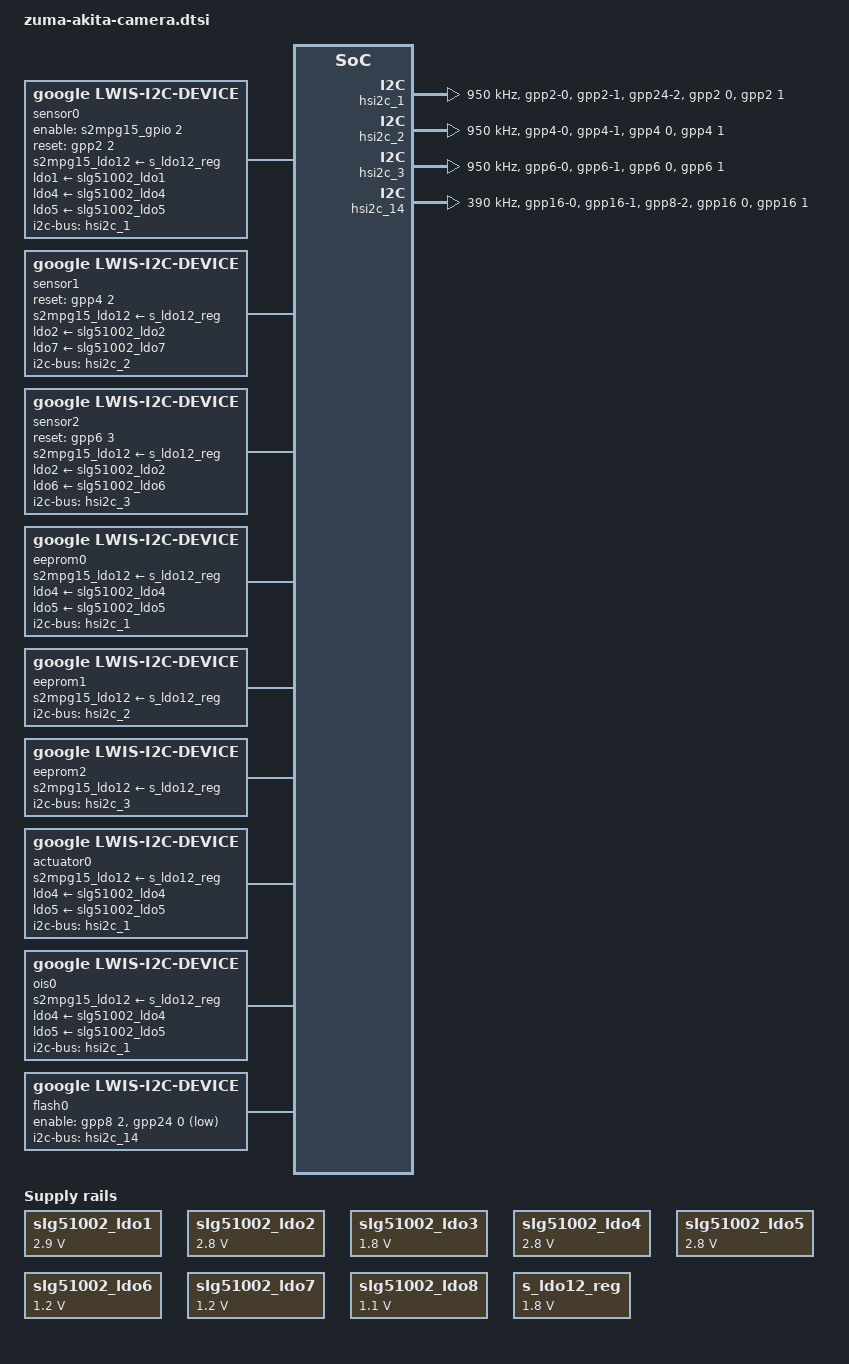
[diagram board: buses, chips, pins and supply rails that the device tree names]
// SPDX-License-Identifier: GPL-2.0-only
/*
 * zuma camera lwis device tree for akita
 *
 * Copyright 2022 Google LLC.
 *
 */

#include <dt-bindings/clock/zuma.h>
#include <dt-bindings/gpio/gpio.h>
#include <arm64/exynos/exynos-pinctrl.h>

&slg51002_ldo1 {
	regulator-min-microvolt = <2900000>;
	regulator-max-microvolt = <2900000>;
};

&slg51002_ldo2 {
	regulator-min-microvolt = <2800000>;
	regulator-max-microvolt = <2800000>;
};

&slg51002_ldo3 {
	regulator-min-microvolt = <1800000>;
	regulator-max-microvolt = <1800000>;
};

&slg51002_ldo4 {
	regulator-min-microvolt = <2800000>;
	regulator-max-microvolt = <2800000>;
};

&slg51002_ldo5 {
	regulator-min-microvolt = <2800000>;
	regulator-max-microvolt = <2800000>;
};

&slg51002_ldo6 {
	regulator-min-microvolt = <1200000>;
	regulator-max-microvolt = <1200000>;
};

&slg51002_ldo7 {
	regulator-min-microvolt = <1200000>;
	regulator-max-microvolt = <1200000>;
};

&slg51002_ldo8 {
	regulator-min-microvolt = <1100000>;
	regulator-max-microvolt = <1100000>;
};

&s_ldo12_reg {
	regulator-min-microvolt = <1800000>;
	regulator-max-microvolt = <1800000>;
};

&pinctrl_11 {
	hsi2c1_bus: hsi2c1-bus {
		samsung,pin-pud = <EXYNOS_PIN_PULL_UP>;
	};

	hsi2c1_bus_in: hsi2c1-bus-in {
		samsung,pins = "gpp2-0", "gpp2-1";
		samsung,pin-function = <EXYNOS_PIN_FUNC_INPUT>;
		samsung,pin-pud = <EXYNOS_PIN_PULL_NONE>;
		samsung,pin-drv = <ZUMA_PIN_DRV_X1>;
	};

	hsi2c2_bus: hsi2c2-bus {
		samsung,pin-pud = <EXYNOS_PIN_PULL_UP>;
	};

	hsi2c2_bus_in: hsi2c2-bus-in {
		samsung,pins = "gpp4-0", "gpp4-1";
		samsung,pin-function = <EXYNOS_PIN_FUNC_INPUT>;
		samsung,pin-pud = <EXYNOS_PIN_PULL_NONE>;
		samsung,pin-drv = <ZUMA_PIN_DRV_X1>;
	};

	hsi2c3_bus: hsi2c3-bus {
		samsung,pin-pud = <EXYNOS_PIN_PULL_UP>;
	};

	hsi2c3_bus_in: hsi2c3-bus-in {
		samsung,pins = "gpp6-0", "gpp6-1";
		samsung,pin-function = <EXYNOS_PIN_FUNC_INPUT>;
		samsung,pin-pud = <EXYNOS_PIN_PULL_NONE>;
		samsung,pin-drv = <ZUMA_PIN_DRV_X1>;
	};

	hsi2c4_bus: hsi2c4-bus {
		samsung,pin-pud = <EXYNOS_PIN_PULL_UP>;
	};

	hsi2c4_bus_in: hsi2c4-bus-in {
		samsung,pins = "gpp8-0", "gpp8-1";
		samsung,pin-function = <EXYNOS_PIN_FUNC_INPUT>;
		samsung,pin-pud = <EXYNOS_PIN_PULL_NONE>;
		samsung,pin-drv = <ZUMA_PIN_DRV_X1>;
	};

	hsi2c14_bus: hsi2c14-bus {
		samsung,pins = "gpp16-0", "gpp16-1";
		samsung,pin-function = <EXYNOS_PIN_FUNC_2>;
		samsung,pin-pud = <EXYNOS_PIN_PULL_NONE>;
		samsung,pin-drv = <ZUMA_PIN_DRV_X1>;
		samsung,pin-con-pdn = <EXYNOS_PIN_PDN_PREV>;
		samsung,pin-pud-pdn = <EXYNOS_PIN_PULL_NONE>;
	};

	/* GPP8[2] Flashlight Enable */
	flash_en: flash-en {
		samsung,pins = "gpp8-2";
		samsung,pin-function = <EXYNOS_PIN_FUNC_INPUT>;
		samsung,pin-pud = <EXYNOS_PIN_PULL_NONE>;
		samsung,pin-con-pdn = <EXYNOS_PIN_PDN_PREV>;
		samsung,pin-pud-pdn = <EXYNOS_PIN_PULL_NONE>;
	};

	sensor_mclk1_out: sensor-mclk1-out {
		samsung,pin-drv = <ZUMA_PIN_DRV_X2>;
	};
	sensor_mclk1_fn: sensor-mclk1-fn {
		samsung,pin-drv = <ZUMA_PIN_DRV_X2>;
	};
	sensor_mclk2_out: sensor-mclk2-out {
		samsung,pin-drv = <ZUMA_PIN_DRV_X2>;
	};
	sensor_mclk2_fn: sensor-mclk2-fn {
		samsung,pin-drv = <ZUMA_PIN_DRV_X2>;
	};
	sensor_mclk4_out: sensor-mclk4-out {
		samsung,pin-drv = <ZUMA_PIN_DRV_X2>;
	};
	sensor_mclk4_fn: sensor-mclk4-fn {
		samsung,pin-drv = <ZUMA_PIN_DRV_X2>;
	};
};

&pinctrl_12 {
	apc_pwm_pins: apc_pwm_pins {
		samsung,pins = "gpp24-2";
		samsung,pin-function = <EXYNOS_PIN_FUNC_INPUT>;
		samsung,pin-pud = <EXYNOS_PIN_PULL_DOWN>;
	};
};

&hsi2c_1 {
	#address-cells = <1>;
	#size-cells = <0>;
	gpios = <&gpp2 0 GPIO_ACTIVE_HIGH &gpp2 1 GPIO_ACTIVE_HIGH>;
	status = "okay";
	clock-frequency = <950000>;
	samsung,reset-before-trans;

	pinctrl-names = "default","on_i2c","off_i2c";
	pinctrl-0 = <&hsi2c1_bus_in &apc_pwm_pins>; /* add for apc_pwm_pins */
	pinctrl-1 = <&hsi2c1_bus>;
	pinctrl-2 = <&hsi2c1_bus_in>;
};

&hsi2c_2 {
	#address-cells = <1>;
	#size-cells = <0>;
	gpios = <&gpp4 0 GPIO_ACTIVE_HIGH &gpp4 1 GPIO_ACTIVE_HIGH>;
	status = "okay";
	clock-frequency = <950000>;
	samsung,reset-before-trans;

	pinctrl-names = "default","on_i2c","off_i2c";
	pinctrl-0 = <&hsi2c2_bus_in>;
	pinctrl-1 = <&hsi2c2_bus>;
	pinctrl-2 = <&hsi2c2_bus_in>;
};

&hsi2c_3 {
	#address-cells = <1>;
	#size-cells = <0>;
	gpios = <&gpp6 0 GPIO_ACTIVE_HIGH &gpp6 1 GPIO_ACTIVE_HIGH>;
	status = "okay";
	clock-frequency = <950000>;
	samsung,reset-before-trans;

	pinctrl-names = "default","on_i2c","off_i2c";
	pinctrl-0 = <&hsi2c3_bus_in>;
	pinctrl-1 = <&hsi2c3_bus>;
	pinctrl-2 = <&hsi2c3_bus_in>;
};

&hsi2c_14 {
	#address-cells = <1>;
	#size-cells = <0>;
	gpios = <&gpp16 0 GPIO_ACTIVE_HIGH &gpp16 1 GPIO_ACTIVE_HIGH>;
	status = "okay";
	clock-frequency = <390000>;

	pinctrl-names = "default","on_i2c","off_i2c";
	pinctrl-0 = <&hsi2c14_bus &flash_en>;
	pinctrl-1 = <&hsi2c14_bus>;
	pinctrl-2 = <&hsi2c14_bus>;
};

/ {
	fragment@lwiscamera {
		target-path = "/";
		__overlay__ {
			/* REAR CAMERA OKSOKO */
			sensor0: sensor@0 {
				compatible = "google,lwis-i2c-device";

				/* Device node name */
				node-name = "sensor-oksoko";

				/* I2C */
				i2c-bus = <&hsi2c_1>;
				i2c-addr = <0x1A>;

				/* Registers */
				reg-addr-bitwidth = <16>;
				reg-value-bitwidth = <8>;
				/* CAMS_LVBUCK_EN for ldo8 */
				enable-gpios = <&s2mpg15_gpio 2 GPIO_ACTIVE_HIGH>;

				/* GPIOs */
				/* RCAM_RST_L GPP2[2] */
				reset-gpios = <&gpp2 2 GPIO_ACTIVE_HIGH>;

				/* Power supplies */
				s2mpg15_ldo12-supply = <&s_ldo12_reg>;
				ldo1-supply = <&slg51002_ldo1>;
				ldo4-supply = <&slg51002_ldo4>;
				ldo5-supply = <&slg51002_ldo5>;
				ldo3-supply = <&slg51002_ldo3>;

				clocks =
					<&clock CIS_CLK3>,
					<&clock GATE_DFTMUX_CMU_CIS_CLK3>;
				clock-names =
					"CIS_CLK3",
					"GATE_DFTMUX_CMU_CIS_CLK3";
				clock-rates =
					<26000000>,
					<0>;

				/* MCLK Control */
				pinctrl-names = "mclk_on", "mclk_off";
				pinctrl-0 = <&sensor_mclk4_fn>;
				pinctrl-1 = <&sensor_mclk4_out>;

				/* Power up sequence */
				power-up-seqs =
					"s2mpg15_ldo12",
					"ldo5",
					"ldo4",
					"ldo1",
					"ldo3",
					"enable",
					"reset",
					"mclk_on";
				power-up-seq-types =
					"regulator",
					"regulator",
					"regulator",
					"regulator",
					"regulator",
					"gpio",
					"gpio",
					"pinctrl";
				power-up-seq-delays-us =
					<0
					 0
					 0
					 0
					 0
					 1000
					 0
					 2000>;

				/* Power down sequence */
				power-down-seqs =
					"mclk_off",
					"reset",
					"enable",
					"ldo3",
					"ldo1",
					"ldo4",
					"ldo5",
					"s2mpg15_ldo12";
				power-down-seq-types =
					"pinctrl",
					"gpio",
					"gpio",
					"regulator",
					"regulator",
					"regulator",
					"regulator",
					"regulator";
				power-down-seq-delays-us =
					<0
					 0
					 0
					 0
					 0
					 0
					 0
					 0>;

				/* Thread priority */
				transaction-thread-priority = <99>;
				i2c-lock-group-id = <0>;
			};

			/* FRONT CAMERA LESHEN */
			sensor1: sensor@1 {
				compatible = "google,lwis-i2c-device";

				/* Device node name */
				node-name = "sensor-leshen";

				/* I2C */
				i2c-bus = <&hsi2c_2>;
				i2c-addr = <0x1A>;

				/* Registers */
				reg-addr-bitwidth = <16>;
				reg-value-bitwidth = <8>;

				/* GPIOs */
				reset-gpios = <&gpp4 2 GPIO_ACTIVE_HIGH>;

				/* Power supplies */
				s2mpg15_ldo12-supply = <&s_ldo12_reg>;
				ldo2-supply = <&slg51002_ldo2>;
				ldo7-supply = <&slg51002_ldo7>;

				clocks =
					<&clock CIS_CLK1>,
					<&clock GATE_DFTMUX_CMU_CIS_CLK1>;
				clock-names =
					"CIS_CLK1",
					"GATE_DFTMUX_CMU_CIS_CLK1";
				clock-rates =
					<24000000>,
					<0>;

				/* MCLK Control */
				pinctrl-names = "mclk_on", "mclk_off";
				pinctrl-0 = <&sensor_mclk2_fn>;
				pinctrl-1 = <&sensor_mclk2_out>;

				/* Power up sequence */
				power-up-seqs =
					"s2mpg15_ldo12",
					"ldo2",
					"ldo7",
					"reset",
					"mclk_on";
				power-up-seq-types =
					"regulator",
					"regulator",
					"regulator",
					"gpio",
					"pinctrl";
				power-up-seq-delays-us =
					<0
					 0
					 1000
					 0
					 0>;

				/* Power down sequence */
				power-down-seqs =
					"mclk_off",
					"reset",
					"ldo7",
					"ldo2",
					"s2mpg15_ldo12";
				power-down-seq-types =
					"pinctrl",
					"gpio",
					"regulator",
					"regulator",
					"regulator";
				power-down-seq-delays-us =
					<0
					 0
					 0
					 0
					 0>;

				/* Thread priority */
				transaction-thread-priority = <99>;
				i2c-lock-group-id = <1>;
			};

			/* REAR ULTRA WIDE CAMERA LESHEN */
			sensor2: sensor@2 {
				compatible = "google,lwis-i2c-device";

				/* Device node name */
				node-name = "sensor-leshen-uw";

				/* I2C */
				i2c-bus = <&hsi2c_3>;
				i2c-addr = <0x1A>;

				/* Registers */
				reg-addr-bitwidth = <16>;
				reg-value-bitwidth = <8>;

				/* GPIOs */
				reset-gpios = <&gpp6 3 GPIO_ACTIVE_HIGH>;

				/* Power supplies */
				s2mpg15_ldo12-supply = <&s_ldo12_reg>;
				ldo2-supply = <&slg51002_ldo2>;
				ldo6-supply = <&slg51002_ldo6>;

				clocks =
					<&clock CIS_CLK0>,
					<&clock GATE_DFTMUX_CMU_CIS_CLK0>;
				clock-names =
					"CIS_CLK0",
					"GATE_DFTMUX_CMU_CIS_CLK0";
				clock-rates =
					<24000000>,
					<0>;

				/* MCLK Control */
				pinctrl-names = "mclk_on", "mclk_off";
				pinctrl-0 = <&sensor_mclk1_fn>;
				pinctrl-1 = <&sensor_mclk1_out>;

				/* Power up sequence */
				power-up-seqs =
					"s2mpg15_ldo12",
					"ldo2",
					"ldo6",
					"reset",
					"mclk_on";
				power-up-seq-types =
					"regulator",
					"regulator",
					"regulator",
					"gpio",
					"pinctrl";
				power-up-seq-delays-us =
					<0
					 0
					 1000
					 0
					 1000>;

				/* Power down sequence */
				power-down-seqs =
					"mclk_off",
					"reset",
					"ldo6",
					"ldo2",
					"s2mpg15_ldo12";
				power-down-seq-types =
					"pinctrl",
					"gpio",
					"regulator",
					"regulator",
					"regulator";
				power-down-seq-delays-us =
					<0
					 0
					 0
					 0
					 1000>;

				/* Thread priority */
				transaction-thread-priority = <99>;
				i2c-lock-group-id = <2>;
			};

			/* EEPROM NESSIE for OKSOKO*/
			eeprom0: eeprom@0 {
				compatible = "google,lwis-i2c-device";
				/* Device node name */
				node-name = "eeprom-nessie";
				/* I2C */
				i2c-bus = <&hsi2c_1>;
				i2c-addr = <0x24>;
				/* Registers */
				reg-addr-bitwidth = <16>;
				reg-value-bitwidth = <32>;
				/* Power supplies */
				s2mpg15_ldo12-supply = <&s_ldo12_reg>;
				ldo4-supply = <&slg51002_ldo4>;
				ldo5-supply = <&slg51002_ldo5>;
				/* Power up sequence */
				power-up-seqs =
					"s2mpg15_ldo12",
					"ldo5",
					"ldo4";
				power-up-seq-types =
					"regulator",
					"regulator",
					"regulator";
				power-up-seq-delays-us =
					<0
					 0
					 0>;
				/* Power down sequence */
				power-down-seqs =
					"ldo4",
					"ldo5",
					"s2mpg15_ldo12";
				power-down-seq-types =
					"regulator",
					"regulator",
					"regulator";
				power-down-seq-delays-us =
					<0
					 0
					 0>;
				i2c-lock-group-id = <0>;
			};

			/* EEPROM SMAUG for LESHEN */
			eeprom1: eeprom@1 {
				compatible = "google,lwis-i2c-device";

				/* Device node name */
				node-name = "eeprom-smaug-leshen";

				/* I2C */
				i2c-bus = <&hsi2c_2>;
				i2c-addr = <0x50>;

				/* Registers */
				reg-addr-bitwidth = <16>;
				reg-value-bitwidth = <8>;

				/* Power supplies */
				s2mpg15_ldo12-supply = <&s_ldo12_reg>;

				/* Power up sequence */
				power-up-seqs =
					"s2mpg15_ldo12";
				power-up-seq-types =
					"regulator";
				power-up-seq-delays-us =
					<0>;

				/* Power down sequence */
				power-down-seqs =
					"s2mpg15_ldo12";
				power-down-seq-types =
					"regulator";
				power-down-seq-delays-us =
					<0>;
				i2c-lock-group-id = <1>;
			};

			/* EEPROM SMAUG for LESHEN-UW */
			eeprom2: eeprom@2 {
				compatible = "google,lwis-i2c-device";

				/* Device node name */
				node-name = "eeprom-smaug-leshen-uw";

				/* I2C */
				i2c-bus = <&hsi2c_3>;
				i2c-addr = <0x50>;

				/* Registers */
				reg-addr-bitwidth = <16>;
				reg-value-bitwidth = <8>;

				/* Power supplies */
				s2mpg15_ldo12-supply = <&s_ldo12_reg>;

				/* Power up sequence */
				power-up-seqs =
					"s2mpg15_ldo12";
				power-up-seq-types =
					"regulator";
				power-up-seq-delays-us =
					<0>;

				/* Power down sequence */
				power-down-seqs =
					"s2mpg15_ldo12";
				power-down-seq-types =
					"regulator";
				power-down-seq-delays-us =
					<1000>;
				i2c-lock-group-id = <2>;
			};

			/* Actuator NESSIE for OKSOKO */
			actuator0: actuator@0 {
				compatible = "google,lwis-i2c-device";

				/* Device node name */
				node-name = "act-nessie";

				/* I2C */
				i2c-bus = <&hsi2c_1>;
				i2c-addr = <0x24>;

				/* Registers */
				reg-addr-bitwidth = <16>;
				reg-value-bitwidth = <32>;

				/* Power supplies */
				s2mpg15_ldo12-supply = <&s_ldo12_reg>;
				ldo4-supply = <&slg51002_ldo4>;
				ldo5-supply = <&slg51002_ldo5>;

				/* Power up sequence */
				power-up-seqs =
					"s2mpg15_ldo12",
					"ldo5",
					"ldo4";
				power-up-seq-types =
					"regulator",
					"regulator",
					"regulator";
				power-up-seq-delays-us =
					<0
					 0
					 0>;

				/* Power down sequence */
				power-down-seqs =
					"ldo4",
					"ldo5",
					"s2mpg15_ldo12";
				power-down-seq-types =
					"regulator",
					"regulator",
					"regulator";
				power-down-seq-delays-us =
					<0
					 0
					 0>;

				/* Thread priority */
				periodic-io-thread-priority = <99>;
				i2c-lock-group-id = <0>;
			};

			/* OIS NESSIE for OKSOKO*/
			ois0: ois@0 {
				compatible = "google,lwis-i2c-device";

				/* Device node name */
				node-name = "ois-nessie";

				/* I2C */
				i2c-bus = <&hsi2c_1>;
				i2c-addr = <0x24>;

				/* Registers */
				reg-addr-bitwidth = <16>;
				reg-value-bitwidth = <32>;

				/* Power supplies */
				s2mpg15_ldo12-supply = <&s_ldo12_reg>;
				ldo4-supply = <&slg51002_ldo4>;
				ldo5-supply = <&slg51002_ldo5>;

				/* Power up sequence */
				power-up-seqs =
					"s2mpg15_ldo12",
					"ldo5",
					"ldo4";
				power-up-seq-types =
					"regulator",
					"regulator",
					"regulator";
				power-up-seq-delays-us =
					<0
					 0
					 0>;

				/* Power down sequence */
				power-down-seqs =
					"ldo4",
					"ldo5",
					"s2mpg15_ldo12";
				power-down-seq-types =
					"regulator",
					"regulator",
					"regulator";
				power-down-seq-delays-us =
					<0
					 0
					 0>;

				/* Thread priority */
				periodic-io-thread-priority = <99>;
				i2c-lock-group-id = <0>;
			};

			flash0: flash@0 {
				compatible = "google,lwis-i2c-device";

				/* Device node name */
				node-name = "flash-lm3644";

				/* I2C */
				i2c-bus = <&hsi2c_14>;
				i2c-addr = <0x63>;

				/* Registers */
				reg-addr-bitwidth = <8>;
				reg-value-bitwidth = <8>;

				/* Power Management hibernation (deep sleep) */
				/* 1 : enable, 0 : disable */
				pm-hibernation = <0>;

				/* GPIOs */
				/* HW_ENABLE GPP8[2] */
				/* FLASH_STROBE GPP24[0] */
				enable-gpios =
					<&gpp8 2 GPIO_ACTIVE_HIGH
					 &gpp24 0 GPIO_ACTIVE_LOW>;
			};
		};
	};
};
